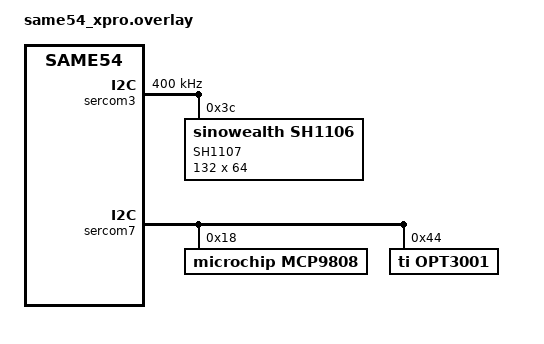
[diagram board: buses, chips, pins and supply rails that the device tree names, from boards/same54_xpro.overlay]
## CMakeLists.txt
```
# Minimum CMake version
cmake_minimum_required(VERSION 3.20.0)

# Add additional modules
set(ZEPHYR_EXTRA_MODULES "${CMAKE_SOURCE_DIR}/../../modules/mcp9808")
#set(ZEPHYR_EXTRA_MODULES "${CMAKE_SOURCE_DIR}/../../modules/lib/gui/lvgl")

# Locate the Zephyr RTOS source
find_package(Zephyr REQUIRED HINTS $ENV{ZEPHYR_BASE})

# Name the project
project(sensor_display)

# Locate the source code for the application
target_sources(app PRIVATE src/main.c)
```

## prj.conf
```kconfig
CONFIG_HEAP_MEM_POOL_SIZE=4096
CONFIG_GPIO=y
CONFIG_SENSOR=y

CONFIG_MCP9808=y
CONFIG_OPT3001=y

CONFIG_I2C=y
CONFIG_DISPLAY=y

CONFIG_SSD1306_DEFAULT_CONTRAST=128
CONFIG_CHARACTER_FRAMEBUFFER=y
CONFIG_CHARACTER_FRAMEBUFFER_USE_DEFAULT_FONTS=y

CONFIG_LOG=y
CONFIG_LOG_DEFAULT_LEVEL=3
```

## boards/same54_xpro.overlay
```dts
/*
 * SPDX-License-Identifier: Apache-2.0
 *
 * Copyright (c) 2021 Gerson Fernando Budke <nandojve@gmail.com>
 */

/ {
    aliases {
        sh1107 = &sh1107_3c_sercom3;
        mcp9808 = &mcp9808_18_sercom7;
        opt3001 = &opt3001_44_sercom7;
    };

    chosen {
        zephyr,display = &sh1107_3c_sercom3;
    };
};

&pinctrl {
	sercom3_i2c_default: sercom3_i2c_default {
		group1 {
			pinmux = <PA22C_SERCOM3_PAD0>,
				 <PA23C_SERCOM3_PAD1>;
		};
	};
};

&sercom3 {
	status = "okay";
	compatible = "atmel,sam0-i2c";
	clock-frequency = <I2C_BITRATE_FAST>;
	#address-cells = <1>;
	#size-cells = <0>;

	pinctrl-0 = <&sercom3_i2c_default>;
	pinctrl-names = "default";

    sh1107_3c_sercom3: sh1107@3c {
        compatible = "sinowealth,sh1106";
        label = "SH1107";
	    reg = <0x3c>;
	    height = <64>;
	    width = <132>;
	    segment-offset = <0>;
	    page-offset = <0>;
	    display-offset = <0>;
	    multiplex-ratio = <63>;
	    prechargep = <0x22>;
	    com-invdir;
	    segment-remap;
    };
};

&sercom7 {
	status = "okay";
    compatible = "atmel,sam0-i2c";

    mcp9808_18_sercom7: mcp9808@18 {
        compatible = "microchip,mcp9808"; 					// Specify device bindings/driver
        reg = <0x18>; 										// I2C address of the MCP9808
        label = "MCP9808";
        status = "okay"; 									// Enable the MCP9808 sensor
        resolution = <3>; 									// Set the resolution
    };    

    opt3001_44_sercom7: opt3001@44 {
        compatible = "ti,opt3001"; 					        // Specify device bindings/driver
        reg = <0x44>; 										// I2C address of the OPT3001
        label = "OPT3001";
        status = "okay"; 									// Enable the OPT3001 sensor
    };      
};
```

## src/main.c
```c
#include <stdint.h>
#include <stdio.h>
#include <zephyr/device.h>
#include <zephyr/kernel.h>
#include <zephyr/drivers/sensor.h>
#include <zephyr/drivers/display.h>
#include <zephyr/display/cfb.h>
#include <zephyr/logging/log.h>
#include <zephyr/display/cfb.h>

#define DISPLAY_BUFFER_PITCH 132
uint8_t msgBuf[100];

// Fullscreen welcome image
uint8_t imageBuf[1056] = {
0xff, 0xff, 0xff, 0xff, 0xff, 0xff, 0xff, 0xff, 0xff, 0xff, 0xff, 0xff, 0xff, 0xff, 0xff, 0xff, 
0xff, 0xff, 0xff, 0xff, 0xff, 0xff, 0xff, 0xff, 0xff, 0xff, 0xff, 0xff, 0xff, 0xff, 0xff, 0xff, 
0xff, 0xff, 0xff, 0xff, 0xff, 0xff, 0xff, 0xff, 0xff, 0xff, 0xff, 0xff, 0xff, 0xff, 0xff, 0xff, 
0xff, 0xff, 0xff, 0xff, 0xff, 0xff, 0xff, 0xff, 0xff, 0xff, 0xff, 0xff, 0xff, 0xff, 0xff, 0xff, 
0xff, 0xff, 0xff, 0xff, 0xff, 0xff, 0xff, 0xff, 0xff, 0xff, 0xff, 0xff, 0xff, 0xff, 0xff, 0xff, 
0xff, 0xff, 0xff, 0xff, 0xff, 0xff, 0xff, 0xff, 0xff, 0xff, 0xff, 0xff, 0xff, 0xff, 0xff, 0xff, 
0xff, 0xff, 0xff, 0xff, 0xff, 0xff, 0xff, 0xff, 0xff, 0xff, 0xff, 0xff, 0xff, 0xff, 0xff, 0xff, 
0xff, 0xff, 0xff, 0xff, 0xff, 0xff, 0xff, 0xff, 0xff, 0xff, 0xff, 0xff, 0xff, 0xff, 0xff, 0xff, 
0xff, 0xff, 0xff, 0xff, 0xff, 0xff, 0xff, 0xff, 0xff, 0xff, 0xff, 0xff, 0x7f, 0x3f, 0x1f, 0x0f, 
0x07, 0x07, 0x03, 0x03, 0x01, 0x81, 0x81, 0x00, 0x00, 0x00, 0x00, 0x00, 0x00, 0x00, 0x00, 0x00, 
0x00, 0x00, 0x00, 0x01, 0x81, 0x01, 0x03, 0x0f, 0x1f, 0x71, 0xf1, 0xf1, 0xfb, 0xff, 0xff, 0xff, 
0xff, 0xff, 0xff, 0xff, 0xff, 0xff, 0xff, 0xff, 0xff, 0xff, 0xff, 0xff, 0xff, 0xff, 0xff, 0xff, 
0xff, 0xff, 0xff, 0xff, 0xff, 0xff, 0xff, 0xff, 0xff, 0xff, 0xff, 0xff, 0xff, 0xff, 0xff, 0xff, 
0xff, 0xff, 0xff, 0xff, 0xff, 0xff, 0xff, 0xff, 0xff, 0xff, 0xff, 0xff, 0xff, 0xff, 0xff, 0xff, 
0xff, 0xff, 0xff, 0xff, 0xff, 0x7f, 0x0f, 0x0f, 0x0f, 0x0f, 0x0f, 0x0f, 0x0f, 0x0f, 0x0f, 0x0f, 
0x0f, 0x0f, 0x0f, 0x0f, 0x0f, 0x0f, 0x0f, 0x0f, 0x0f, 0x0f, 0x0f, 0x0f, 0x0f, 0x0f, 0x0f, 0x0f, 
0x0f, 0x0f, 0x0f, 0xff, 0xff, 0xff, 0xff, 0xff, 0xff, 0xff, 0xff, 0xff, 0xff, 0x0f, 0x03, 0x00, 
0x00, 0x00, 0x00, 0x00, 0x00, 0x20, 0x78, 0xfc, 0xff, 0xff, 0xff, 0xff, 0xfe, 0xf8, 0xf0, 0xc0, 
0x80, 0x00, 0x00, 0x20, 0x78, 0xfc, 0xfe, 0xff, 0xff, 0xff, 0xfe, 0xf8, 0xf0, 0xc0, 0x80, 0x03, 
0x0f, 0x1f, 0x7f, 0xff, 0xff, 0xff, 0xff, 0xff, 0xff, 0xff, 0xff, 0xff, 0xff, 0xff, 0xff, 0xff, 
0xff, 0x1f, 0x07, 0x03, 0x03, 0x01, 0x01, 0x01, 0x01, 0x03, 0x03, 0x07, 0x0f, 0x07, 0x03, 0x01, 
0x01, 0x01, 0x01, 0x01, 0x03, 0x07, 0x0f, 0xff, 0xff, 0xff, 0xff, 0xff, 0xff, 0xff, 0xff, 0xff, 
0xff, 0xff, 0xff, 0xff, 0xff, 0xff, 0xff, 0x1f, 0x03, 0x00, 0x00, 0x00, 0x00, 0x00, 0x00, 0x00, 
0x00, 0x00, 0x00, 0x00, 0x00, 0x00, 0x00, 0x00, 0x00, 0x00, 0x00, 0x00, 0x00, 0x00, 0x00, 0x00, 
0x00, 0x00, 0x00, 0x00, 0x00, 0x00, 0x00, 0xff, 0xff, 0xff, 0xff, 0xff, 0xff, 0xff, 0xff, 0xff, 
0xc0, 0x80, 0xc0, 0xe0, 0xf8, 0xfc, 0xfe, 0xfe, 0xfc, 0xf0, 0xe0, 0x01, 0x03, 0x0f, 0x1f, 0x7f, 
0xff, 0xff, 0xff, 0xff, 0xff, 0xfe, 0xfc, 0xf0, 0xe0, 0x81, 0x03, 0x0f, 0x1f, 0x7f, 0xff, 0xff, 
0xff, 0xff, 0xff, 0xfe, 0xfc, 0xf0, 0xe0, 0x80, 0x03, 0x87, 0xff, 0xff, 0xff, 0xff, 0xff, 0xff, 
0xff, 0xff, 0xff, 0xff, 0xff, 0xfe, 0xf8, 0xf0, 0xe0, 0xc0, 0x80, 0x00, 0x00, 0x00, 0x00, 0x00, 
0x00, 0x00, 0x00, 0x00, 0x00, 0x00, 0x80, 0xc0, 0xe0, 0xf8, 0xfc, 0xff, 0xff, 0xff, 0xff, 0xff, 
0xff, 0xff, 0xff, 0xff, 0xff, 0xff, 0xff, 0xff, 0x3f, 0x07, 0x00, 0x00, 0x00, 0x00, 0x00, 0x00, 
0x00, 0x00, 0x00, 0x00, 0x00, 0x00, 0x00, 0x00, 0x00, 0x00, 0x00, 0x00, 0x00, 0x00, 0x00, 0x00, 
0x00, 0x00, 0x00, 0x00, 0x00, 0x00, 0x00, 0x00, 0x00, 0x00, 0x00, 0xff, 0xff, 0xff, 0xff, 0xff, 
0xff, 0xff, 0xff, 0xff, 0xff, 0xff, 0xff, 0xff, 0xff, 0xff, 0x3f, 0x1f, 0x0f, 0x03, 0x01, 0x00, 
0x00, 0x00, 0x00, 0x00, 0x00, 0x03, 0x07, 0x1f, 0x3f, 0x3f, 0x3f, 0x1f, 0x07, 0x03, 0x00, 0x00, 
0x00, 0x00, 0x00, 0x03, 0x07, 0x1f, 0x3f, 0xff, 0xff, 0xff, 0xff, 0xff, 0xff, 0xff, 0xff, 0xff, 
0xff, 0xff, 0xff, 0xff, 0xff, 0xff, 0xff, 0xff, 0xff, 0xff, 0xff, 0xff, 0xff, 0xff, 0xff, 0xff, 
0xfe, 0xfc, 0xfc, 0xf8, 0xf0, 0xf8, 0xfc, 0xfe, 0xff, 0xff, 0xff, 0xff, 0xff, 0xff, 0xff, 0xff, 
0xff, 0xff, 0xff, 0xff, 0xff, 0xff, 0xff, 0xff, 0xff, 0x7f, 0x0f, 0x01, 0x00, 0x00, 0x00, 0x00, 
0x00, 0x00, 0x00, 0x00, 0x00, 0x00, 0x00, 0x00, 0x00, 0x00, 0x00, 0x00, 0x00, 0x00, 0x00, 0x00, 
0x00, 0x00, 0x00, 0x00, 0x00, 0x00, 0x00, 0x00, 0x00, 0x00, 0x00, 0x00, 0x00, 0x80, 0x80, 0xff, 
0xff, 0xff, 0xff, 0xff, 0xff, 0xff, 0xff, 0xff, 0xff, 0xff, 0xff, 0xff, 0xff, 0xff, 0xff, 0xfe, 
0xfc, 0xf8, 0xf8, 0xf0, 0xf0, 0xf0, 0xe0, 0xe0, 0xe0, 0xc0, 0xc0, 0xc0, 0xc0, 0xc0, 0xc0, 0xc0, 
0xc0, 0xe0, 0xe0, 0xe0, 0xe0, 0xf0, 0xf0, 0xf8, 0xf8, 0xfc, 0xfe, 0xff, 0xff, 0xff, 0xff, 0xff, 
0xff, 0xff, 0xf9, 0xf0, 0xe0, 0xc0, 0x80, 0x00, 0x00, 0xe0, 0xff, 0xff, 0xff, 0xff, 0xff, 0xff, 
0xff, 0xff, 0xff, 0xff, 0xff, 0xff, 0xff, 0xff, 0x7f, 0x3f, 0x3f, 0x7f, 0xff, 0xff, 0xff, 0xff, 
0xff, 0xff, 0xff, 0xff, 0xff, 0xff, 0xff, 0xff, 0xff, 0xff, 0x7f, 0x9f, 0x83, 0x80, 0x80, 0x80, 
0xc0, 0xc0, 0xc0, 0xc0, 0xc0, 0xe0, 0xe0, 0xe0, 0xe0, 0xf0, 0xf0, 0xf0, 0xf0, 0xf0, 0xf8, 0xf8, 
0xf8, 0xf8, 0xf8, 0xfc, 0xfc, 0xfc, 0xfc, 0xfc, 0xfe, 0xfe, 0xfe, 0xfe, 0xfe, 0xff, 0xff, 0xff, 
0xff, 0xff, 0xff, 0xff, 0xff, 0xff, 0xff, 0xff, 0xff, 0xff, 0xff, 0xff, 0xff, 0xff, 0xff, 0xff, 
0xff, 0xff, 0xff, 0xff, 0xff, 0xff, 0xff, 0xff, 0xff, 0xff, 0xff, 0xff, 0xff, 0xff, 0xff, 0xff, 
0xff, 0xff, 0xff, 0xff, 0xff, 0xff, 0xff, 0xff, 0xff, 0xff, 0xff, 0xff, 0xff, 0xff, 0xff, 0xff, 
0xff, 0xff, 0xff, 0xff, 0xff, 0xff, 0xff, 0xff, 0xff, 0xff, 0xff, 0xff, 0xfe, 0xf1, 0x81, 0x03, 
0x03, 0x03, 0x07, 0x87, 0x8f, 0xcf, 0xcf, 0xff, 0xef, 0xe7, 0xe1, 0xe0, 0xe0, 0xf0, 0xf0, 0xf0, 
0xf0, 0xf1, 0xf3, 0xf7, 0xf7, 0xf7, 0xe3, 0xe3, 0xc3, 0xc1, 0x81, 0x81, 0x00, 0x00, 0xf8, 0xff, 
0xff, 0xff, 0xff, 0xff, 0xff, 0xff, 0xff, 0xff, 0xff, 0xff, 0xff, 0xff, 0xff, 0xff, 0xff, 0xff, 
0xff, 0xff, 0xff, 0xff, 0xff, 0xff, 0xff, 0xff, 0xff, 0xff, 0xff, 0xff, 0xff, 0xff, 0xff, 0xff, 
0xff, 0xff, 0xff, 0xff, 0xff, 0xff, 0xff, 0xff, 0xff, 0xff, 0xff, 0xff, 0xff, 0xff, 0xff, 0xff, 
0xff, 0xff, 0xff, 0xff, 0xff, 0xff, 0xff, 0xff, 0xff, 0xff, 0xff, 0xff, 0xff, 0xff, 0xff, 0xff, 
0xff, 0xff, 0xff, 0xff, 0xff, 0xff, 0xff, 0xff, 0xff, 0xff, 0xff, 0xff, 0xff, 0xff, 0xff, 0xff, 
0xff, 0xff, 0xff, 0xff, 0xff, 0xff, 0xff, 0xff, 0xff, 0xff, 0xff, 0xff, 0xff, 0xff, 0xff, 0xff, 
0xff, 0xff, 0xff, 0xfe, 0xfe, 0xff, 0xff, 0xff, 0xff, 0xff, 0xff, 0xff, 0xff, 0xff, 0xff, 0xff, 
0xff, 0xff, 0xff, 0xff, 0xff, 0xff, 0xff, 0xff, 0xff, 0xff, 0xff, 0xff, 0xff, 0xff, 0xff, 0xff, 
0xff, 0xff, 0xff, 0xff, 0xff, 0xff, 0xff, 0xff, 0xff, 0xff, 0xff, 0xff, 0xff, 0xff, 0xff, 0xff, 
0xff, 0xff, 0xff, 0xff, 0xff, 0xff, 0xff, 0xff, 0xff, 0xff, 0xff, 0xff, 0xff, 0xff, 0xff, 0xff, 
0xff, 0xff, 0xff, 0xff, 0xff, 0xff, 0xff, 0xff, 0xff, 0xff, 0xff, 0xff, 0xff, 0xff, 0xff, 0xff};


static const struct device *display = DEVICE_DT_GET(DT_ALIAS(sh1107));
const struct device *const tempSensor = DEVICE_DT_GET(DT_ALIAS(mcp9808));
const struct device *const lightSensor = DEVICE_DT_GET(DT_ALIAS(opt3001));
int ret;

int  main(void)
{
  struct sensor_value tempVal;
  struct sensor_value lightVal;

  // Check devices
	if (!device_is_ready(display)) {
		printf("Device %s is not ready.\n", display->name);
		return 0;
	}
    if (!device_is_ready(tempSensor)) {
		printf("Device %s is not ready.\n", tempSensor->name);
		return 0;
	}
    if (!device_is_ready(lightSensor)) {
		printf("Device %s is not ready.\n", lightSensor->name);
		return 0;
	}

  // Display welcome image for 3 sec
  struct display_capabilities capabilities;
  display_get_capabilities(display, &capabilities);  
  const struct display_buffer_descriptor buf_desc = {
    .width = capabilities.x_resolution,
    .height = capabilities.y_resolution,
    .buf_size = capabilities.x_resolution * capabilities.y_resolution,
    .pitch = capabilities.x_resolution
  };
  if (display_write(display, 0, 0, &buf_desc, imageBuf) != 0) {
    printf("could not write to display");
  }
  k_sleep(K_MSEC(3000));


  // Initialize cfb framebuffer
  if (cfb_framebuffer_init(display) != 0) {
      printf("could not initialize CFB");
      return;
  }
  if (cfb_framebuffer_clear(display, true) != 0) {
      printf("could not clear display");
      return;
  }


  while (1) 
  {
    // Fetch data from sensors
    ret = sensor_sample_fetch(tempSensor);
    ret |= sensor_sample_fetch(lightSensor);
    if (ret) {
        printf("Sample fetch error: %d\n", ret);
        return 0;
    }

    // Move channel data to buffers
    ret = sensor_channel_get(tempSensor, SENSOR_CHAN_AMBIENT_TEMP, &tempVal);
    ret |= sensor_channel_get(lightSensor, SENSOR_CHAN_LIGHT, &lightVal);
    if (ret) {
        printf("Channel get error: %d\n", ret);
        return 0;
    }

    // JMR: Writing spaces to framebuffer instead of doing a clear to avoid flicker...
    //cfb_framebuffer_clear(display, true);
    cfb_print(display, "               ", 0, 0);
    cfb_print(display, "               ", 0, 15);

    sprintf((char *) msgBuf, "Temp : %d.%02d", tempVal.val1, tempVal.val2/10000);
    cfb_print(display, msgBuf, 0, 0);
    sprintf((char *) msgBuf, "Light: %d.%02d", lightVal.val1, lightVal.val2/10000);
    cfb_print(display, msgBuf, 0, 15);
    cfb_framebuffer_finalize(display);
    k_sleep(K_MSEC(300));
  }
  return 0;
}
```
